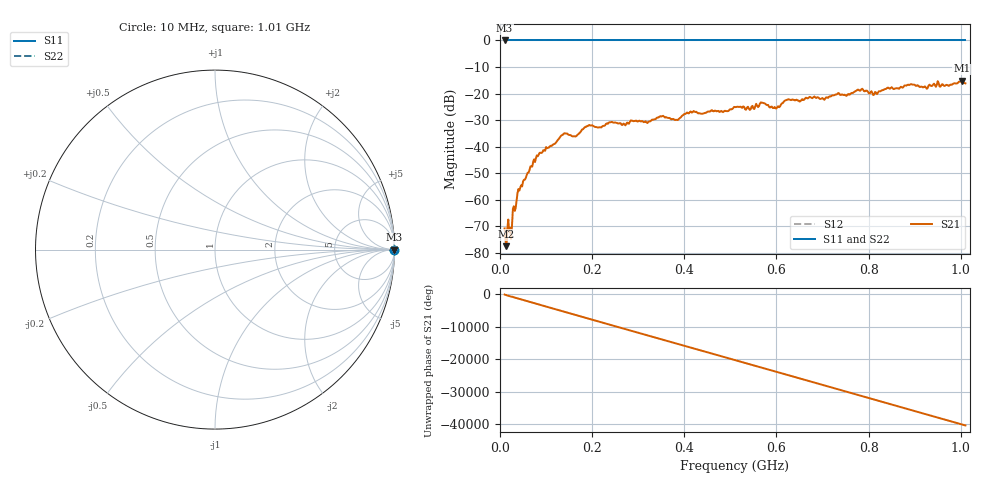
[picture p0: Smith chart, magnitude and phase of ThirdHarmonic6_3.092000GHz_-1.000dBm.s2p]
! 8/17/2025 9:05:55 AM
! C:\ANRITSUVNA\TEMP\TEMP.S2P
! CHANNEL.1
! TR.MEASUREMENT
! RAW.DATA
! RF.CORRECTION.OFF
! AVERAGING.OFF
! IF.BANDWIDTH: 5KHZ
! SWEEPTYPE:  FREQ.SWEEP(Linear)
! Reference Plane Port Info
! PORT:  PORT1  PORT2
! DISTANCE:  0  m  0  m
! TIME:  0  s  0  s
! PHASE.OFFSET:  0  deg.  0  deg.
! LOSS:  0  dB  0  dB
! REF.LOSS:  0  dB  0  dB
! REF.FREQ:  0  Hz  0  Hz
! Power Info
! POWER:  -20  dBm  -20  dBm
! EFF.POWER:  -20  dBm  -20  dBm
! SOURCE.ATTEN:  0  dB  0  dB
! TEST.ATTEN:  0  dB  0  dB
# GHZ S RI R 50.0
! FREQ.GHZ  S11RE  S11IM  S21RE  S21IM  S12RE  S12IM  S22RE  S22IM
!; PortSelection: Port_12
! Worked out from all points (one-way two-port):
!   501 points, 10 MHz to 1.01 GHz, reference 50 ohm
!   highest |S21| = -15.17 dB at 1.002 GHz (marker M1); lowest = -77.5 dB at 14 MHz (marker M2)
!   lowest |S11| = 0.0 dB at 10 MHz (marker M3)
!   |S11| at or under -10 dB: nowhere
!   |S22| runs from 0.0 to 0.0 dB; largest |S21 - S12| = 1.2
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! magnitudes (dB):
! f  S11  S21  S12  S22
! 10 MHz  0.0  -70.8  0.0  0.0
! 14 MHz  0.0  -77.5  0.0  0.0
! 24 MHz  0.0  -74.8  0.0  0.0
! 42 MHz  0.0  -56.6  0.0  0.0
! 82 MHz  0.0  -43.7  0.0  0.0
! 136 MHz  0.0  -35.6  0.0  0.0
! 162 MHz  0.0  -36.1  0.0  0.0
! 178 MHz  0.0  -33.6  0.0  0.0
! 344 MHz  0.0  -29.1  0.0  0.0
! 382 MHz  0.0  -29.9  0.0  0.0
! 416 MHz  0.0  -27.2  0.0  0.0
! 510 MHz  0.0  -25.1  0.0  0.0
! 546 MHz  0.0  -25.0  0.0  0.0
! 570 MHz  0.0  -23.5  0.0  0.0
! 596 MHz  0.0  -25.1  0.0  0.0
! 622 MHz  0.0  -22.4  0.0  0.0
! 678 MHz  0.0  -21.8  0.0  0.0
! 782 MHz  0.0  -18.9  0.0  0.0
! 814 MHz  0.0  -19.4  0.0  0.0
! 844 MHz  0.0  -18.0  0.0  0.0
! 1.002 GHz  0.0  -15.2  0.0  0.0
! 1.01 GHz  0.0  -16.2  0.0  0.0
